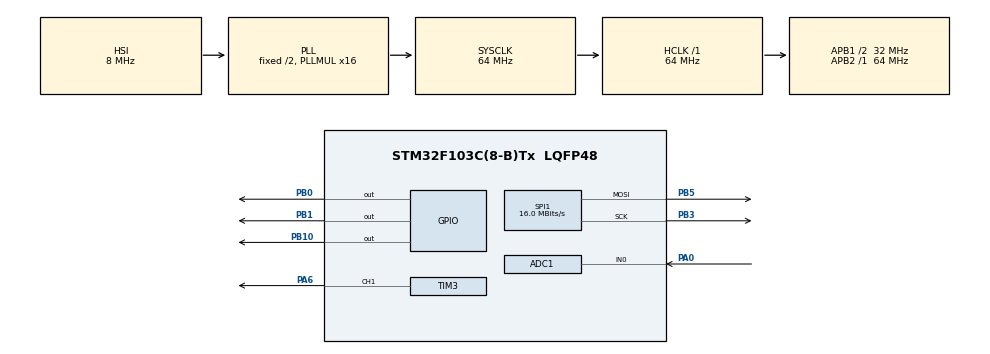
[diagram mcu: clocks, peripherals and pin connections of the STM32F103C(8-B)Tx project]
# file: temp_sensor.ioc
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ADC1.Channel-0\#ChannelRegularConversion=ADC_CHANNEL_0
ADC1.NbrOfConversionFlag=1
ADC1.Rank-0\#ChannelRegularConversion=1
ADC1.SamplingTime-0\#ChannelRegularConversion=ADC_SAMPLETIME_239CYCLES_5
ADC1.master=1
Mcu.Family=STM32F1
Mcu.Name=STM32F103C(8-B)Tx
Mcu.Package=LQFP48
NVIC.ADC1_2_IRQn=true\:1\:0\:true\:false\:true\:true\:true\:true
NVIC.PriorityGroup=NVIC_PRIORITYGROUP_4
PA0-WKUP.Signal=ADCx_IN0
PA13.Mode=Serial_Wire
PA13.Signal=SYS_JTMS-SWDIO
PA14.Mode=Serial_Wire
PA14.Signal=SYS_JTCK-SWCLK
PA6.Signal=S_TIM3_CH1
PB0.Signal=GPIO_Output
PB1.Signal=GPIO_Output
PB10.Signal=GPIO_Output
PB3.Mode=TX_Only_Simplex_Unidirect_Master
PB3.Signal=SPI1_SCK
PB5.Mode=TX_Only_Simplex_Unidirect_Master
PB5.Signal=SPI1_MOSI
ProjectManager.HeapSize=0x200
ProjectManager.StackSize=0x400
ProjectManager.TargetToolchain=MDK-ARM V5.32
RCC.ADCPresc=RCC_ADCPCLK2_DIV8
RCC.AHBFreq_Value=64000000
RCC.APB1CLKDivider=RCC_HCLK_DIV2
RCC.APB1Freq_Value=32000000
RCC.APB1TimFreq_Value=64000000
RCC.APB2Freq_Value=64000000
RCC.APB2TimFreq_Value=64000000
RCC.HCLKFreq_Value=64000000
RCC.PLLMUL=RCC_PLL_MUL16
RCC.SYSCLKFreq_VALUE=64000000
RCC.SYSCLKSource=RCC_SYSCLKSOURCE_PLLCLK
RCC.USBFreq_Value=64000000
SH.ADCx_IN0.0=ADC1_IN0,IN0
SH.S_TIM3_CH1.0=TIM3_CH1,PWM Generation1 CH1
SPI1.BaudRatePrescaler=SPI_BAUDRATEPRESCALER_4
SPI1.CalculateBaudRate=16.0 MBits/s
SPI1.Direction=SPI_DIRECTION_2LINES
SPI1.Mode=SPI_MODE_MASTER
SPI1.VirtualType=VM_MASTER
TIM3.Channel-PWM\ Generation1\ CH1=TIM_CHANNEL_1
TIM3.Period=1730
TIM4.Prescaler=63
VP_TIM3_VS_ClockSourceINT.Mode=Internal
VP_TIM4_VS_ClockSourceINT.Mode=Internal
board=custom

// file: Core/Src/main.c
/* USER CODE BEGIN Header */
/**
  ******************************************************************************
  * @file           : main.c
  * @brief          : Main program body
  ******************************************************************************
  * @attention
  *
  * Copyright (c) 2026 STMicroelectronics.
  * All rights reserved.
  *
  * This software is licensed under terms that can be found in the LICENSE file
  * in the root directory of this software component.
  * If no LICENSE file comes with this software, it is provided AS-IS.
  *
  ******************************************************************************
  */
/* USER CODE END Header */
#include "main.h"

/* USER CODE BEGIN Includes */
#include <stdio.h>
#include "midea.h"
#include <math.h>
#include "tft.h"
/* USER CODE END Includes */

ADC_HandleTypeDef hadc1;

SPI_HandleTypeDef hspi1;

TIM_HandleTypeDef htim3;
TIM_HandleTypeDef htim4;

void SystemClock_Config(void);
static void MX_GPIO_Init(void);
static void MX_ADC1_Init(void);
static void MX_TIM3_Init(void);
static void MX_TIM4_Init(void);
static void MX_SPI1_Init(void);

/* USER CODE BEGIN 0 */
float temp;
uint16_t previous_time = 0;
uint16_t buffer[450];
volatile uint16_t idx = 0;
volatile uint8_t current_speed = 1;
volatile uint8_t previous_speed = 1;
volatile int diff = 0;
volatile uint8_t on = 0;
volatile uint8_t silent = 0;
uint16_t x = 0;
uint16_t y = 0;
/* USER CODE END 0 */

int main(void)
{

  /* MCU Configuration--------------------------------------------------------*/

  /* Reset of all peripherals, Initializes the Flash interface and the Systick. */
  HAL_Init();

  /* Configure the system clock */
  SystemClock_Config();

  /* Initialize all configured peripherals */
  MX_GPIO_Init();
  MX_ADC1_Init();
  MX_TIM3_Init();
  MX_TIM4_Init();
  MX_SPI1_Init();
  /* USER CODE BEGIN 2 */
	HAL_ADCEx_Calibration_Start(&hadc1);
	uint8_t flag = 1;
	volatile uint16_t bits_idx = 0;
	TFT_Init(u8InitCmdList);
	TFT_FillScreen(BLACK);
	HAL_Delay(100);
  /* USER CODE END 2 */

  /* Infinite loop */
  while (1)
  {

    /* USER CODE BEGIN 3 */
		char buffer[16];
		float sum = 0;
		for (uint8_t i = 0; i < 10; i++)
		{
			HAL_ADC_Start(&hadc1);
			HAL_ADC_PollForConversion(&hadc1, 100);
			sum += HAL_ADC_GetValue(&hadc1) * 22.0/273;
			HAL_Delay(10);
		}
		temp = sum / 10.0 - 8;
		snprintf(buffer, sizeof(buffer), "%ld", lround(temp));
		TFT_WriteString(buffer);
		x = 0; y = 0;
		if (temp < 23) //off fan
		{
			if (on)
			{
				Midea_Function(POWER);
				on = 0;
				HAL_Delay(1000);
			}
		}
		else if (temp < 25) //silent mode
		{
			if (!on)
			{
				Midea_Function(POWER);
				on = 1;
				HAL_Delay(1000);
			}
			if (!silent)
			{
				Midea_Function(SILENT);
				silent = 1;
				HAL_Delay(1000);
			}
		}
		else
		{
			if (!on)
			{
				Midea_Function(POWER);
				on = 1;
				HAL_Delay(1000);
			}
			if (silent)
			{
				Midea_Function(SILENT);
				silent = 0;
				HAL_Delay(1000);
			}
			if (temp < 28) current_speed = 1;
			else if (temp < 32) current_speed = 2;
			else current_speed = 3;
			diff = current_speed - previous_speed;
			if (diff !=0)
			{
				if (diff <0) diff += 3;
				for (uint8_t i = 0; i < diff; i++)
				{
					Midea_Function(SPEED);
					HAL_Delay(1000);
				}
			}
			previous_speed = current_speed;
		}
		HAL_Delay(1000);
	}
  /* USER CODE END 3 */
}

void SystemClock_Config(void)
{
  RCC_OscInitTypeDef RCC_OscInitStruct = {0};
  RCC_ClkInitTypeDef RCC_ClkInitStruct = {0};
  RCC_PeriphCLKInitTypeDef PeriphClkInit = {0};

  /** Initializes the RCC Oscillators according to the specified parameters
  * in the RCC_OscInitTypeDef structure.
  */
  RCC_OscInitStruct.OscillatorType = RCC_OSCILLATORTYPE_HSI;
  RCC_OscInitStruct.HSIState = RCC_HSI_ON;
  RCC_OscInitStruct.HSICalibrationValue = RCC_HSICALIBRATION_DEFAULT;
  RCC_OscInitStruct.PLL.PLLState = RCC_PLL_ON;
  RCC_OscInitStruct.PLL.PLLSource = RCC_PLLSOURCE_HSI_DIV2;
  RCC_OscInitStruct.PLL.PLLMUL = RCC_PLL_MUL16;
  if (HAL_RCC_OscConfig(&RCC_OscInitStruct) != HAL_OK)
  {
    Error_Handler();
  }

  /** Initializes the CPU, AHB and APB buses clocks
  */
  RCC_ClkInitStruct.ClockType = RCC_CLOCKTYPE_HCLK|RCC_CLOCKTYPE_SYSCLK
                              |RCC_CLOCKTYPE_PCLK1|RCC_CLOCKTYPE_PCLK2;
  RCC_ClkInitStruct.SYSCLKSource = RCC_SYSCLKSOURCE_PLLCLK;
  RCC_ClkInitStruct.AHBCLKDivider = RCC_SYSCLK_DIV1;
  RCC_ClkInitStruct.APB1CLKDivider = RCC_HCLK_DIV2;
  RCC_ClkInitStruct.APB2CLKDivider = RCC_HCLK_DIV1;

  if (HAL_RCC_ClockConfig(&RCC_ClkInitStruct, FLASH_LATENCY_2) != HAL_OK)
  {
    Error_Handler();
  }
  PeriphClkInit.PeriphClockSelection = RCC_PERIPHCLK_ADC;
  PeriphClkInit.AdcClockSelection = RCC_ADCPCLK2_DIV8;
  if (HAL_RCCEx_PeriphCLKConfig(&PeriphClkInit) != HAL_OK)
  {
    Error_Handler();
  }
}

static void MX_ADC1_Init(void)
{

  ADC_ChannelConfTypeDef sConfig = {0};

  /** Common config
  */
  hadc1.Instance = ADC1;
  hadc1.Init.ScanConvMode = ADC_SCAN_DISABLE;
  hadc1.Init.ContinuousConvMode = DISABLE;
  hadc1.Init.DiscontinuousConvMode = DISABLE;
  hadc1.Init.ExternalTrigConv = ADC_SOFTWARE_START;
  hadc1.Init.DataAlign = ADC_DATAALIGN_RIGHT;
  hadc1.Init.NbrOfConversion = 1;
  if (HAL_ADC_Init(&hadc1) != HAL_OK)
  {
    Error_Handler();
  }

  /** Configure Regular Channel
  */
  sConfig.Channel = ADC_CHANNEL_0;
  sConfig.Rank = ADC_REGULAR_RANK_1;
  sConfig.SamplingTime = ADC_SAMPLETIME_239CYCLES_5;
  if (HAL_ADC_ConfigChannel(&hadc1, &sConfig) != HAL_OK)
  {
    Error_Handler();
  }

}

static void MX_SPI1_Init(void)
{

  /* SPI1 parameter configuration*/
  hspi1.Instance = SPI1;
  hspi1.Init.Mode = SPI_MODE_MASTER;
  hspi1.Init.Direction = SPI_DIRECTION_2LINES;
  hspi1.Init.DataSize = SPI_DATASIZE_8BIT;
  hspi1.Init.CLKPolarity = SPI_POLARITY_LOW;
  hspi1.Init.CLKPhase = SPI_PHASE_1EDGE;
  hspi1.Init.NSS = SPI_NSS_SOFT;
  hspi1.Init.BaudRatePrescaler = SPI_BAUDRATEPRESCALER_4;
  hspi1.Init.FirstBit = SPI_FIRSTBIT_MSB;
  hspi1.Init.TIMode = SPI_TIMODE_DISABLE;
  hspi1.Init.CRCCalculation = SPI_CRCCALCULATION_DISABLE;
  hspi1.Init.CRCPolynomial = 10;
  if (HAL_SPI_Init(&hspi1) != HAL_OK)
  {
    Error_Handler();
  }

}

static void MX_TIM3_Init(void)
{

  TIM_ClockConfigTypeDef sClockSourceConfig = {0};
  TIM_MasterConfigTypeDef sMasterConfig = {0};
  TIM_OC_InitTypeDef sConfigOC = {0};

  htim3.Instance = TIM3;
  htim3.Init.Prescaler = 0;
  htim3.Init.CounterMode = TIM_COUNTERMODE_UP;
  htim3.Init.Period = 1730;
  htim3.Init.ClockDivision = TIM_CLOCKDIVISION_DIV1;
  htim3.Init.AutoReloadPreload = TIM_AUTORELOAD_PRELOAD_DISABLE;
  if (HAL_TIM_Base_Init(&htim3) != HAL_OK)
  {
    Error_Handler();
  }
  sClockSourceConfig.ClockSource = TIM_CLOCKSOURCE_INTERNAL;
  if (HAL_TIM_ConfigClockSource(&htim3, &sClockSourceConfig) != HAL_OK)
  {
    Error_Handler();
  }
  if (HAL_TIM_PWM_Init(&htim3) != HAL_OK)
  {
    Error_Handler();
  }
  sMasterConfig.MasterOutputTrigger = TIM_TRGO_RESET;
  sMasterConfig.MasterSlaveMode = TIM_MASTERSLAVEMODE_DISABLE;
  if (HAL_TIMEx_MasterConfigSynchronization(&htim3, &sMasterConfig) != HAL_OK)
  {
    Error_Handler();
  }
  sConfigOC.OCMode = TIM_OCMODE_PWM1;
  sConfigOC.Pulse = 0;
  sConfigOC.OCPolarity = TIM_OCPOLARITY_HIGH;
  sConfigOC.OCFastMode = TIM_OCFAST_DISABLE;
  if (HAL_TIM_PWM_ConfigChannel(&htim3, &sConfigOC, TIM_CHANNEL_1) != HAL_OK)
  {
    Error_Handler();
  }
  HAL_TIM_MspPostInit(&htim3);

}

static void MX_TIM4_Init(void)
{

  TIM_ClockConfigTypeDef sClockSourceConfig = {0};
  TIM_MasterConfigTypeDef sMasterConfig = {0};

  htim4.Instance = TIM4;
  htim4.Init.Prescaler = 63;
  htim4.Init.CounterMode = TIM_COUNTERMODE_UP;
  htim4.Init.Period = 65535;
  htim4.Init.ClockDivision = TIM_CLOCKDIVISION_DIV1;
  htim4.Init.AutoReloadPreload = TIM_AUTORELOAD_PRELOAD_DISABLE;
  if (HAL_TIM_Base_Init(&htim4) != HAL_OK)
  {
    Error_Handler();
  }
  sClockSourceConfig.ClockSource = TIM_CLOCKSOURCE_INTERNAL;
  if (HAL_TIM_ConfigClockSource(&htim4, &sClockSourceConfig) != HAL_OK)
  {
    Error_Handler();
  }
  sMasterConfig.MasterOutputTrigger = TIM_TRGO_RESET;
  sMasterConfig.MasterSlaveMode = TIM_MASTERSLAVEMODE_DISABLE;
  if (HAL_TIMEx_MasterConfigSynchronization(&htim4, &sMasterConfig) != HAL_OK)
  {
    Error_Handler();
  }

}

static void MX_GPIO_Init(void)
{
  GPIO_InitTypeDef GPIO_InitStruct = {0};

  /* GPIO Ports Clock Enable */
  __HAL_RCC_GPIOA_CLK_ENABLE();
  __HAL_RCC_GPIOB_CLK_ENABLE();

  /*Configure GPIO pin Output Level */
  HAL_GPIO_WritePin(GPIOB, GPIO_PIN_0|GPIO_PIN_1|GPIO_PIN_10, GPIO_PIN_RESET);

  /*Configure GPIO pins : PB0 PB1 PB10 */
  GPIO_InitStruct.Pin = GPIO_PIN_0|GPIO_PIN_1|GPIO_PIN_10;
  GPIO_InitStruct.Mode = GPIO_MODE_OUTPUT_PP;
  GPIO_InitStruct.Pull = GPIO_NOPULL;
  GPIO_InitStruct.Speed = GPIO_SPEED_FREQ_LOW;
  HAL_GPIO_Init(GPIOB, &GPIO_InitStruct);

}

void Error_Handler(void)
{
  __disable_irq();
  while (1)
  {
  }
}
